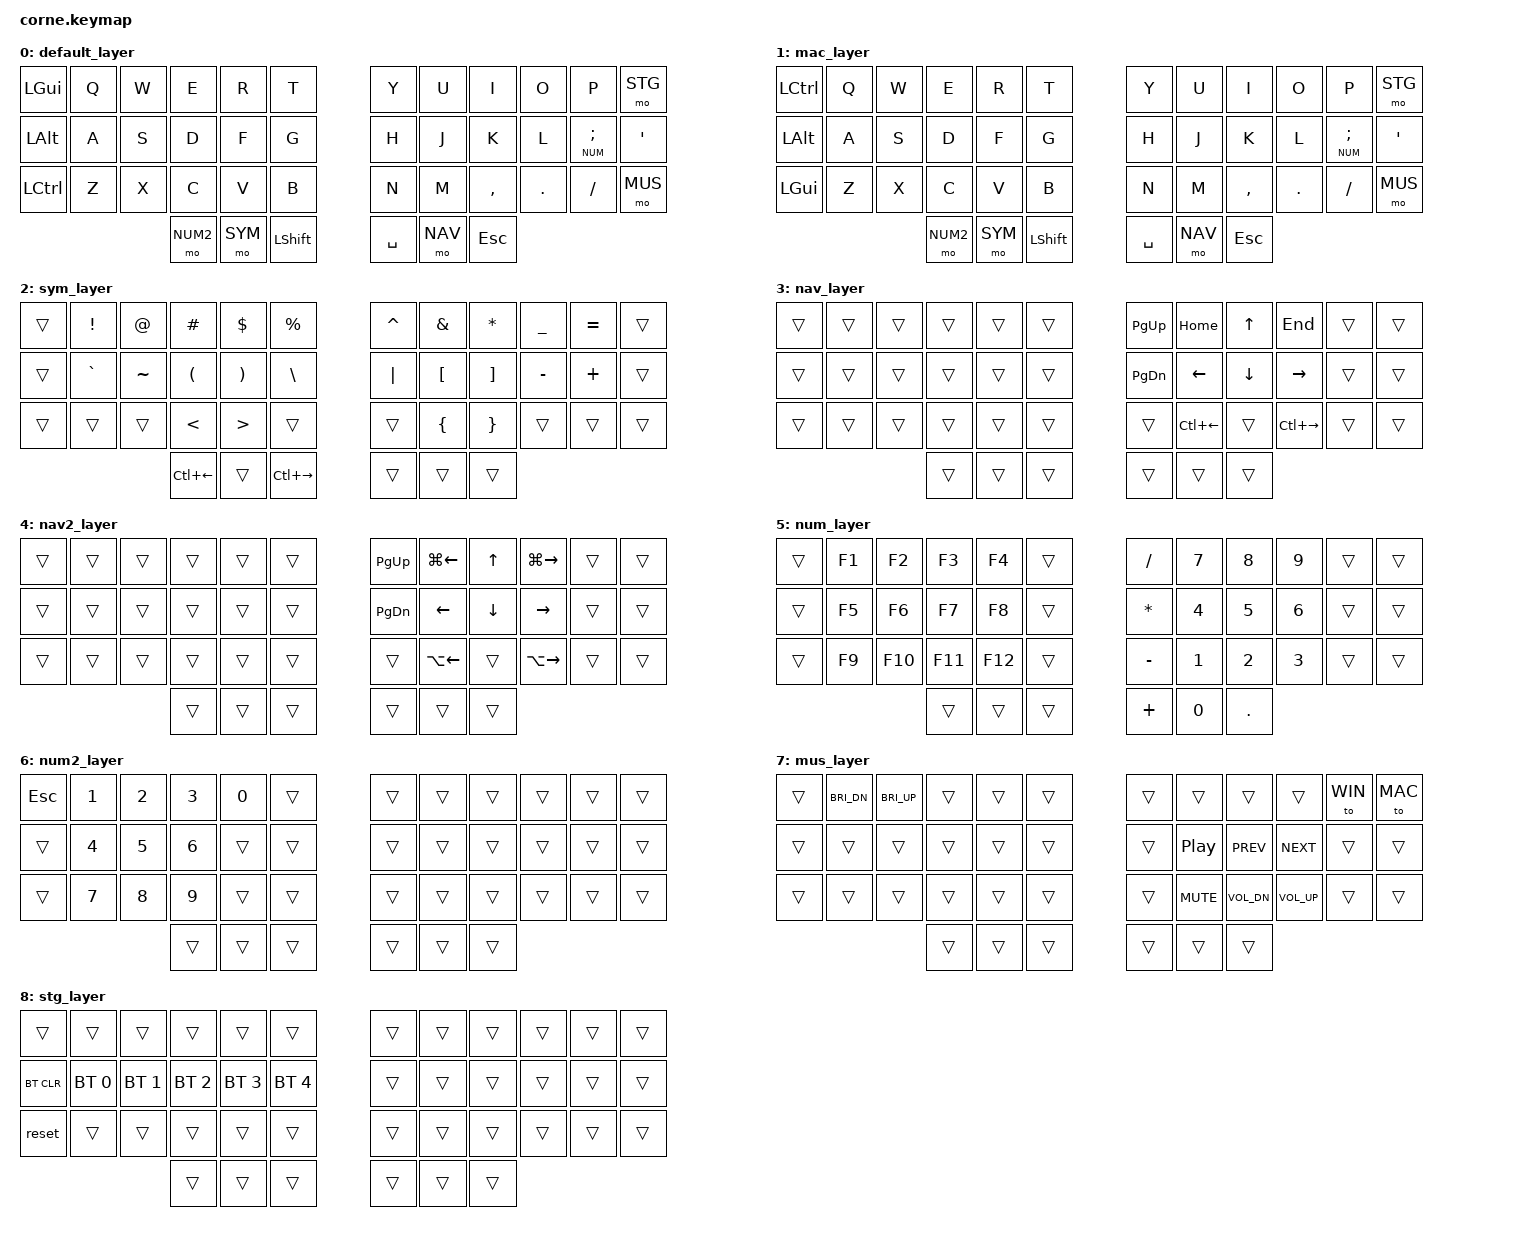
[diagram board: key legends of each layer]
#include <behaviors.dtsi>
#include <dt-bindings/zmk/keys.h>
#include <dt-bindings/zmk/bt.h>

#define WIN 0
#define MAC 1
#define SYM 2
#define NAV 3
#define NAV2 4
#define NUM 5
#define NUM2 6
#define MUS 7
#define STG 8

/ {
        behaviors {
            hm: homerow_mods {
                    compatible = "zmk,behavior-hold-tap";
                    label = "HOMEROW_MODS";
                    #binding-cells = <2>;
                    tapping-term-ms = <150>;
                    quick_tap_ms = <0>;
                    flavor = "balanced";
                    bindings = <&kp>, <&kp>;
            };
        };

        macros {
            macro_combo_comment: macro_combo_comment {
                label = "macro_combo_comment";
                compatible = "zmk,behavior-macro";
                #binding-cells = <0>;
                bindings 
                    = <&macro_press &kp LCTRL>
                    , <&macro_tap &kp K &kp C>
                    , <&macro_release &kp LCTRL>
                    ;
            };
            macro_combo_uncomment: macro_combo_uncomment {
                label = "macro_combo_uncomment";
                compatible = "zmk,behavior-macro";
                #binding-cells = <0>;
                bindings
                    = <&macro_press &kp LCTRL>
                    , <&macro_tap &kp K &kp U>
                    , <&macro_release &kp LCTRL>
                    ;
            };
            macro_combo_vsc_flip: macro_combo_vsc_flip {
                label = "macro_combo_vsc_flip";
                compatible = "zmk,behavior-macro";
                #binding-cells = <0>;
                bindings
                    = <&macro_press &kp LALT>
                    , <&macro_press &kp LSHFT>
                    , <&macro_tap &kp N0>
                    , <&macro_release &kp LALT>
                    , <&macro_release &kp LSHFT>
                    ;
            };
            macro_combo_excel_copy_val: macro_combo_excel_copy_val {
                label = "macro_combo_excel_copy_val";
                compatible = "zmk,behavior-macro";
                #binding-cells = <0>;
                bindings
                    = <&macro_tap &kp F2>
                    , <&macro_press &kp LCTRL>
                    , <&macro_tap &kp A &kp C>
                    , <&macro_release &kp LCTRL>
                    , <&macro_tap &kp ESC>
                    ;
            };
            macro_combo_mac_scr_shot: macro_combo_mac_scr_shot {
                label = "macro_combo_mac_scr_shot";
                compatible = "zmk,behavior-macro";
                #binding-cells = <0>;
                bindings
                    = <&macro_press &kp LCTRL>
                    , <&macro_press &kp LSHFT>
                    , <&macro_press &kp LGUI>
                    , <&macro_tap &kp N4>
                    , <&macro_release &kp LCTRL>
                    , <&macro_release &kp LSHFT>
                    , <&macro_release &kp LGUI>
                    ;
            };
        };


        combos {
            compatible = "zmk,combos";
            combo_tab {
                    timeout-ms = <50>;
                    key-positions = <1 2>;
                    bindings = <&kp TAB>;
            };
            combo_rent {
                    timeout-ms = <50>;
                    key-positions = <19 32>;
                    bindings = <&kp ENTER>;
            };
            combo_rbackspace {
                    timeout-ms = <50>;
                    key-positions = <19 20>;
                    bindings = <&kp BACKSPACE>;
            };
            combo_lent {
                    timeout-ms = <50>;
                    key-positions = <16 27>;
                    bindings = <&kp ENTER>;
            };
            combo_lbackspace {
                    timeout-ms = <50>;
                    key-positions = <15 16>;
                    bindings = <&kp BACKSPACE>;
            };
            combo_lspace {
                    timeout-ms = <50>;
                    key-positions = <3 16>;
                    bindings = <&kp SPACE>;
            };
            combo_delete {
                    timeout-ms = <50>;
                    key-positions = <16 17>;
                    bindings = <&kp DELETE>;
            };
            combo_esc {
                    timeout-ms = <50>;
                    key-positions = <5 17>;
                    bindings = <&kp ESC>;
            };
            combo_left {
                    timeout-ms = <50>;
                    key-positions = <25 26>;
                    bindings = <&kp LEFT>;
            };
            combo_down {
                    timeout-ms = <50>;
                    key-positions = <26 27>;
                    bindings = <&kp DOWN>;
            };
            combo_right {
                    timeout-ms = <50>;
                    key-positions = <27 28>;
                    bindings = <&kp RIGHT>;
            };
            combo_up {
                    timeout-ms = <50>;
                    key-positions = <14 15>;
                    bindings = <&kp UP>;
            };
            combo_comment {
                    timeout-ms = <50>;
                    key-positions = <25 27>;
                    bindings = <&macro_combo_comment>;
            };
            combo_uncomment {
                    timeout-ms = <50>;
                    key-positions = <25 28>;
                    bindings = <&macro_combo_uncomment>;
            };
            combo_vsc_flip {
                    timeout-ms = <50>;
                    key-positions = <6 30>;
                    bindings = <&macro_combo_vsc_flip>;
            };
            combo_excel_copy_val {
                    timeout-ms = <50>;
                    key-positions = <1 27>;
                    bindings = <&macro_combo_excel_copy_val>;
            };
            combo_mac_scr_shot {
                    timeout-ms = <50>;
                    key-positions = <14 26>;
                    bindings = <&macro_combo_mac_scr_shot>;
            };
        };
        
        keymap {
//      0               1               2               3               4               5        |      6               7               8               9               10              11
//      12              13              14              15              16              17       |      18              19              20              21              22              23
//      24              25              26              27              28              29       |      30              31              32              33              34              35
//                                                      36              37              38       |      39              40              41

                compatible = "zmk,keymap";

                default_layer {
                        bindings = <
        &kp LGUI        &kp Q           &kp W           &kp E           &kp R           &kp T           &kp Y           &kp U           &kp I           &kp O           &kp P           &mo STG
        &kp LALT        &kp A           &kp S           &kp D           &kp F           &kp G           &kp H           &kp J           &kp K           &kp L           &lt NUM SEMI    &kp SQT
        &kp LCTRL       &kp Z           &kp X           &kp C           &kp V           &kp B           &kp N           &kp M           &kp COMMA       &kp DOT         &kp FSLH        &mo MUS
                                                        &mo NUM2        &mo SYM         &kp LSHIFT      &kp SPACE       &mo NAV         &kp ESC
                        >;
                };
	            mac_layer {
                       bindings = <
        &kp LCTRL       &kp Q           &kp W           &kp E           &kp R           &kp T           &kp Y           &kp U           &kp I           &kp O           &kp P           &mo STG
        &kp LALT        &kp A           &kp S           &kp D           &kp F           &kp G           &kp H           &kp J           &kp K           &kp L           &lt NUM SEMI    &kp SQT
        &kp LGUI        &kp Z           &kp X           &kp C           &kp V           &kp B           &kp N           &kp M           &kp COMMA       &kp DOT         &kp FSLH        &mo MUS
                                                        &mo NUM2        &mo SYM         &kp LSHIFT      &kp SPACE       &mo NAV         &kp ESC
                        >;
                };
                sym_layer {
                        bindings = <
        &trans          &kp EXCL        &kp AT_SIGN     &kp HASH        &kp DLLR        &kp PRCNT       &kp CARET       &kp AMPS        &kp ASTRK       &kp UNDER       &kp EQUAL       &trans
        &trans          &kp GRAVE       &kp TILDE       &kp LPAR        &kp RPAR        &kp BSLH        &kp PIPE        &kp LBKT        &kp RBKT        &kp MINUS       &kp PLUS        &trans
        &trans          &trans          &trans          &kp LT          &kp GT          &trans          &trans          &kp LBRC        &kp RBRC        &trans          &trans          &trans
                                                        &kp LC(LEFT)    &trans          &kp LC(RIGHT)   &trans          &trans          &trans
                        >;
                };
                nav_layer {
                        bindings = <
        &trans          &trans          &trans          &trans          &trans          &trans          &kp PG_UP       &kp HOME        &kp UP          &kp END         &trans          &trans
        &trans          &trans          &trans          &trans          &trans          &trans          &kp PG_DN       &kp LEFT        &kp DOWN        &kp RIGHT       &trans          &trans
        &trans          &trans          &trans          &trans          &trans          &trans          &trans          &kp LC(LEFT)    &trans          &kp LC(RIGHT)   &trans          &trans
                                                        &trans          &trans          &trans          &trans          &trans          &trans
                        >;
                };
                nav2_layer {
                        bindings = <
        &trans          &trans          &trans          &trans          &trans          &trans          &kp PG_UP       &kp LG(LEFT)    &kp UP          &kp LG(RIGHT)   &trans          &trans
        &trans          &trans          &trans          &trans          &trans          &trans          &kp PG_DN       &kp LEFT        &kp DOWN        &kp RIGHT       &trans          &trans
        &trans          &trans          &trans          &trans          &trans          &trans          &trans          &kp LA(LEFT)    &trans          &kp LA(RIGHT)   &trans          &trans
                                                        &trans          &trans          &trans          &trans          &trans          &trans
                        >;
                };
                num_layer {
                        bindings = <
        &trans          &kp F1          &kp F2          &kp F3          &kp F4          &trans          &kp FSLH        &kp N7          &kp N8          &kp N9          &trans          &trans
        &trans          &kp F5          &kp F6          &kp F7          &kp F8          &trans          &kp ASTRK       &kp N4          &kp N5          &kp N6          &trans          &trans
        &trans          &kp F9          &kp F10         &kp F11         &kp F12         &trans          &kp MINUS       &kp N1          &kp N2          &kp N3          &trans          &trans
                                                        &trans          &trans          &trans          &kp PLUS        &kp N0          &kp DOT
                        >;
                };
                num2_layer {
                        bindings = <
        &kp ESC         &kp N1          &kp N2          &kp N3          &kp N0          &trans          &trans        &trans            &trans          &trans          &trans          &trans
        &trans          &kp N4          &kp N5          &kp N6          &trans          &trans          &trans        &trans            &trans          &trans          &trans          &trans
        &trans          &kp N7          &kp N8          &kp N9          &trans          &trans          &trans        &trans            &trans          &trans          &trans          &trans
                                                        &trans          &trans          &trans          &trans        &trans            &trans
                        >;
                };
                mus_layer {
                        bindings = <
        &trans          &kp C_BRI_DN    &kp C_BRI_UP    &trans          &trans          &trans          &trans        &trans            &trans          &trans          &to WIN         &to MAC
        &trans          &trans          &trans          &trans          &trans          &trans          &trans        &kp C_PP          &kp C_PREV      &kp C_NEXT      &trans          &trans
        &trans          &trans          &trans          &trans          &trans          &trans          &trans        &kp K_MUTE        &kp C_VOL_DN    &kp C_VOL_UP    &trans          &trans
                                                        &trans          &trans          &trans          &trans        &trans            &trans
                        >;
                };
                stg_layer {
                        bindings = <
        &trans          &trans          &trans          &trans          &trans          &trans          &trans        &trans            &trans          &trans          &trans          &trans
        &bt BT_CLR      &bt BT_SEL 0    &bt BT_SEL 1    &bt BT_SEL 2    &bt BT_SEL 3    &bt BT_SEL 4    &trans        &trans            &trans          &trans          &trans          &trans
        &reset          &trans          &trans          &trans          &trans          &trans          &trans        &trans            &trans          &trans          &trans          &trans
                                                        &trans          &trans          &trans          &trans        &trans            &trans
                        >;
                };
        };
};
